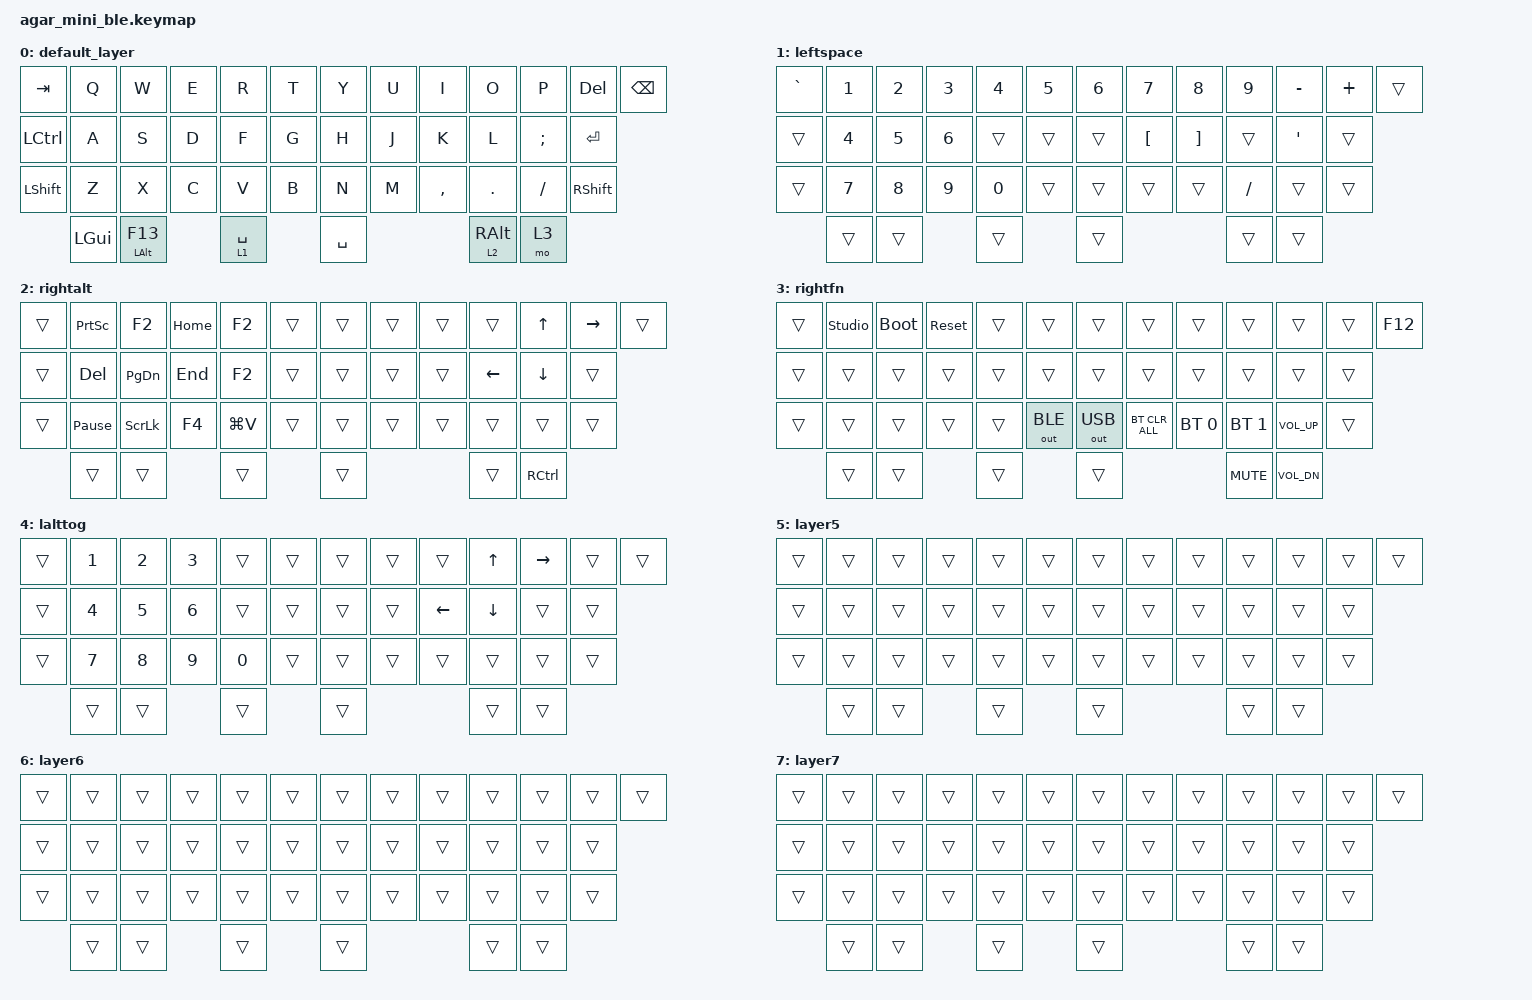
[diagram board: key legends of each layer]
/*
 * Copyright (c) 2021 The ZMK Contributors
 *
 * SPDX-License-Identifier: MIT
 */

#include "./boards/shields/klink_kbd/common.keymap"
#include <behaviors.dtsi>
#include <dt-bindings/zmk/bt.h>
#include <dt-bindings/zmk/keys.h>
#include <dt-bindings/zmk/outputs.h>

/ {
    combos {
        compatible = "zmk,combos";

        esc {
            bindings = <&kp ESC>;
            key-positions = <0 1>;
        };

        tog {
            bindings = <&tog 4>;
            key-positions = <33 34>;
        };

        equal {
            bindings = <&kp EQUAL>;
            key-positions = <11 10>;
        };
    };

    behaviors {
        shiftplus: shiftplus {
            compatible = "zmk,behavior-mod-morph";
            label = "SHIFTPLUS";
            bindings = <&kp BACKSPACE>, <&kp PLUS>;

            #binding-cells = <0>;
            mods = <(MOD_RSFT)>;
        };
    };

    keymap {
        compatible = "zmk,keymap";

        default_layer {
            bindings = <
&kp TAB    &kp Q         &kp W         &kp E  &kp R        &kp T  &kp Y      &kp U  &kp I      &kp O            &kp P      &kp DEL     &kp BSPC
&kp LCTRL  &kp A         &kp S         &kp D  &kp F        &kp G  &kp H      &kp J  &kp K      &kp L            &kp SEMI   &kp RET
&kp LSHFT  &kp Z         &kp X         &kp C  &kp V        &kp B  &kp N      &kp M  &kp COMMA  &kp DOT          &kp SLASH  &kp RSHIFT
           &kp LEFT_GUI  &mt LALT F13         &lt 1 SPACE         &kp SPACE                    &lt 2 RIGHT_ALT  &mo 3
            >;
        };

        leftspace {
            bindings = <
&kp GRAVE  &kp N1  &kp N2  &kp N3  &kp N4  &kp N5  &kp N6  &kp N7            &kp N8             &kp N9     &kp MINUS         &kp PLUS  &trans
&trans     &kp N4  &kp N5  &kp N6  &trans  &trans  &trans  &kp LEFT_BRACKET  &kp RIGHT_BRACKET  &trans     &kp SINGLE_QUOTE  &trans
&trans     &kp N7  &kp N8  &kp N9  &kp N0  &trans  &trans  &trans            &trans             &kp SLASH  &trans            &trans
           &trans  &trans          &trans          &trans                                       &trans     &trans
            >;
        };

        rightalt {
            bindings = <
&trans  &kp PRINTSCREEN  &kp F2          &kp HOME  &kp F2     &trans  &trans  &trans  &trans  &trans          &kp UP_ARROW    &kp RIGHT  &trans
&trans  &kp DELETE       &kp PAGE_DOWN   &kp END   &kp F2     &trans  &trans  &trans  &trans  &kp LEFT_ARROW  &kp DOWN_ARROW  &trans
&trans  &kp PAUSE_BREAK  &kp SCROLLLOCK  &kp F4    &kp LG(V)  &trans  &trans  &trans  &trans  &trans          &trans          &trans
        &trans           &trans                    &trans             &trans                  &trans          &kp RCTRL
            >;
        };

        rightfn {
            bindings = <
&trans  &studio_unlock  &bootloader  &sys_reset  &trans  &trans        &trans        &trans          &trans        &trans        &trans        &trans  &kp F12
&trans  &trans          &trans       &trans      &trans  &trans        &trans        &trans          &trans        &trans        &trans        &trans
&trans  &trans          &trans       &trans      &trans  &out OUT_BLE  &out OUT_USB  &bt BT_CLR_ALL  &bt BT_SEL 0  &bt BT_SEL 1  &kp C_VOL_UP  &trans
        &trans          &trans                   &trans                &trans                                      &kp C_MUTE    &kp C_VOL_DN
            >;
        };

        lalttog {
            bindings = <
&trans  &kp N1  &kp N2  &kp N3  &trans  &trans  &trans  &trans  &trans          &kp UP_ARROW    &kp RIGHT_ARROW  &trans  &trans
&trans  &kp N4  &kp N5  &kp N6  &trans  &trans  &trans  &trans  &kp LEFT_ARROW  &kp DOWN_ARROW  &trans           &trans
&trans  &kp N7  &kp N8  &kp N9  &kp N0  &trans  &trans  &trans  &trans          &trans          &trans           &trans
        &trans  &trans          &trans          &trans                          &trans          &trans
            >;
        };

        layer5 {
            bindings = <
&trans  &trans  &trans  &trans  &trans  &trans  &trans  &trans  &trans  &trans  &trans  &trans  &trans
&trans  &trans  &trans  &trans  &trans  &trans  &trans  &trans  &trans  &trans  &trans  &trans
&trans  &trans  &trans  &trans  &trans  &trans  &trans  &trans  &trans  &trans  &trans  &trans
        &trans  &trans          &trans          &trans                  &trans  &trans
            >;
        };

        layer6 {
            bindings = <
&trans  &trans  &trans  &trans  &trans  &trans  &trans  &trans  &trans  &trans  &trans  &trans  &trans
&trans  &trans  &trans  &trans  &trans  &trans  &trans  &trans  &trans  &trans  &trans  &trans
&trans  &trans  &trans  &trans  &trans  &trans  &trans  &trans  &trans  &trans  &trans  &trans
        &trans  &trans          &trans          &trans                  &trans  &trans
            >;
        };

        layer7 {
            bindings = <
&trans  &trans  &trans  &trans  &trans  &trans  &trans  &trans  &trans  &trans  &trans  &trans  &trans
&trans  &trans  &trans  &trans  &trans  &trans  &trans  &trans  &trans  &trans  &trans  &trans
&trans  &trans  &trans  &trans  &trans  &trans  &trans  &trans  &trans  &trans  &trans  &trans
        &trans  &trans          &trans          &trans                  &trans  &trans
            >;
        };
    };
};
